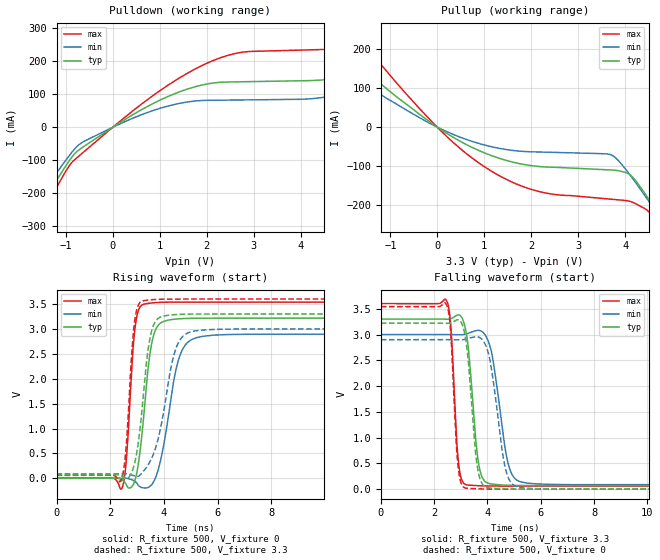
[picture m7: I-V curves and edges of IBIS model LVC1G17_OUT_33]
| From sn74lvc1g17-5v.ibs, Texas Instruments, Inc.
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[Model]   LVC1G17_OUT_33
Model_type  Output
Vref =   0
Rref =   500
Cref =   50p
Vmeas =   1.5
| variable   typ   min   max
C_comp   9.41pF   5.86pF   12.60pF
| C_pullup   9.85pF   5.86pF   11.96pF
| C_pulldown   8.97pF   6.16pF   12.60pF
[Temperature Range]   40   100   -40
| Ambient temperature   25   85   -40
[Voltage range]   3.3   3   3.6
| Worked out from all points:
|   slope of the pulldown table from 0 to 0.495 V, typ, clamps not added: 11.3 ohm
|   slope of the pullup table from 0 to 0.495 V, typ, clamps not added: 13.6 ohm
|   rising waveform, R_fixture 500, V_fixture 0: 20-80 % time 368ps typ, 551ps min, 241ps max; typ from 0 V to 3.22 V
|   falling waveform, R_fixture 500, V_fixture 3.3: 20-80 % time 314ps typ, 471ps min, 210ps max; typ from 3.3 V to 0.069 V
|   rising waveform, R_fixture 500, V_fixture 3.3: 20-80 % time 385ps typ, 622ps min, 245ps max; typ from 0.069 V to 3.3 V
|   falling waveform, R_fixture 500, V_fixture 0: 20-80 % time 305ps typ, 452ps min, 208ps max; typ from 3.22 V to 0 V
[Pulldown]
| LVC1G17_OUT_33
|   Voltage   I(typ)   I(min)   I(max)
-5.5V     -1.112A    -993.8mA   -1.259A
-2.645V   -490.3mA   -433.2mA   -553.8mA
-1.49V    -226.9mA   -197.7mA   -257.3mA
-540mV    -51.04mA   -37.69mA   -65.27mA
1.025V    83.38mA    58mA       112.9mA
2.285V    136mA      81.66mA    210.1mA
4.75V     148.7mA    96.8mA     237.9mA
6.98V     278.7mA    201.6mA    396.3mA
7.35V     308.5mA    129.4mA    437mA
7.84V     330.1mA    92.52mA    494.2mA
8.75V     170.8mA    93.27mA    500.6mA
11V       160mA      96.49mA    276.8mA
[Pullup]
| LVC1G17_OUT_33
|   Voltage   I(typ)   I(min)   I(max)
-5.5V     609.5mA    479.2mA    854.2mA
-3.13V    322.5mA    249.3mA    458mA
-2.385V   237.2mA    181.8mA    339.2mA
-1.845V   177.9mA    135.2mA    255.8mA
-130mV    10.97mA    8.025mA    16.16mA
1.04V     -67.46mA   -46.7mA    -103.9mA
2.145V    -100.4mA   -63.42mA   -163.8mA
3.71V     -109.5mA   -71.26mA   -184.2mA
4.15V     -126.7mA   -129.5mA   -191.6mA
4.765V    -233mA     -235.6mA   -263.4mA
4.95V     -268.4mA   -268.9mA   -301.3mA
11V       -1.523A    -1.428A    -1.684A
[Ramp]
| LVC1G17_OUT_33
| variable   typ   min   max
dV/dt_r   2.05/3.96E-10   1.85/5.96E-10   2.25/2.66E-10
dV/dt_f   1.99/3.33E-10   1.80/4.93E-10   2.18/2.25E-10
R_load = 500
[Rising Waveform]
| LVC1G17_OUT_33
R_fixture =   500
C_fixture =   0
L_fixture =   0
V_fixture =   0
V_fixture_min = 0
V_fixture_max = 0
|   Time   V(typ)   V(min)   V(max)
0s        141.7pV    4.978nV    2.659nV
2.435ns   -31.15mV   4.425mV    -199.5mV
2.6ns     -130.3mV   1.091mV    384.7mV
2.92ns    -39.9mV    -61.43mV   3.009V
3.285ns   1.486V     -195.4mV   3.501V
3.495ns   2.558V     -153.5mV   3.519V
3.735ns   3.036V     83.64mV    3.531V
4.535ns   3.203V     2.367V     3.538V
5.22ns    3.214V     2.825V     3.539V
23.6ns    3.216V     2.894V     3.539V
[Falling Waveform]
| LVC1G17_OUT_33
R_fixture =   500
C_fixture =   0
L_fixture =   0
V_fixture =   3.3
V_fixture_min = 3
V_fixture_max = 3.6
|   Time   V(typ)   V(min)   V(max)
0s        3.3V       3V         3.6V
2.48ns    3.296V     3V         3.642V
2.64ns    3.308V     3V         3.052V
2.905ns   3.381V     2.996V     560.8mV
3.205ns   3.028V     3.011V     83.8mV
3.65ns    560.7mV    3.081V     67.84mV
4.025ns   114.6mV    2.88V      62.07mV
4.765ns   76.93mV    521.3mV    59.49mV
5.28ns    71.86mV    136.9mV    59.16mV
23.6ns    69.39mV    85.93mV    58.96mV
[Rising Waveform]
| LVC1G17_OUT_33
R_fixture =   500
C_fixture =   0
L_fixture =   0
V_fixture =   3.3
V_fixture_min = 3
V_fixture_max = 3.6
|   Time   V(typ)   V(min)   V(max)
0s        69.35mV    85.87mV    58.92mV
2.4ns     51.78mV    89.64mV    -47.43mV
2.58ns    -5.569mV   88.16mV    557.9mV
2.895ns   275.8mV    49.41mV    3.095V
3.21ns    1.533V     124.9mV    3.564V
3.42ns    2.623V     277.8mV    3.58V
3.665ns   3.137V     570mV      3.591V
4.405ns   3.287V     2.539V     3.599V
5.015ns   3.298V     2.943V     3.6V
23.6ns    3.3V       3V         3.6V
[Falling Waveform]
| LVC1G17_OUT_33
R_fixture =   500
C_fixture =   0
L_fixture =   0
V_fixture =   0
V_fixture_min = 0
V_fixture_max = 0
|   Time   V(typ)   V(min)   V(max)
0s        3.22V      2.9V       3.542V
2.465ns   3.217V     2.9V       3.576V
2.615ns   3.225V     2.9V       3.07V
2.895ns   3.286V     2.897V     456.2mV
3.19ns    2.888V     2.91V      17.92mV
3.61ns    476.7mV    2.954V     7.832mV
3.995ns   32.14mV    2.707V     2.716mV
4.66ns    6.332mV    435.2mV    587.8uV
5.125ns   2.227mV    43.64mV    260.3uV
23.6ns    38.64uV    48.8uV     36.05uV
